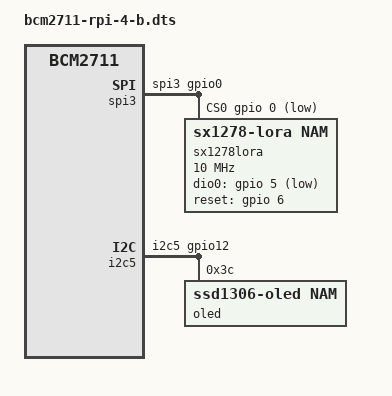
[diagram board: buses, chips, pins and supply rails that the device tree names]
&spi3 {
	status = "okay";
	pinctrl-names = "default";
	pinctrl-0 = <&spi3_gpio0>;
	cs-gpios = <&gpio 0 1>;

	sx1278lora: sx1278-lora@0 {
		compatible = "sx1278-lora,nam";
		reg = <0>;
	
		spi-max-frequency = <10000000>;
		dio0-gpios = <&gpio 5 GPIO_ACTIVE_LOW>;
		reset-gpios = <&gpio 6 GPIO_ACTIVE_HIGH>;
		status = "okay";
	};
};
&i2c5 {
        status = "okay";
        pinctrl-names = "default";
        pinctrl-0 = <&i2c5_gpio12>;

        oled@3c {
                compatible = "ssd1306-oled,nam";
                reg = <0x3c>;
                status = "okay";
        };
};
